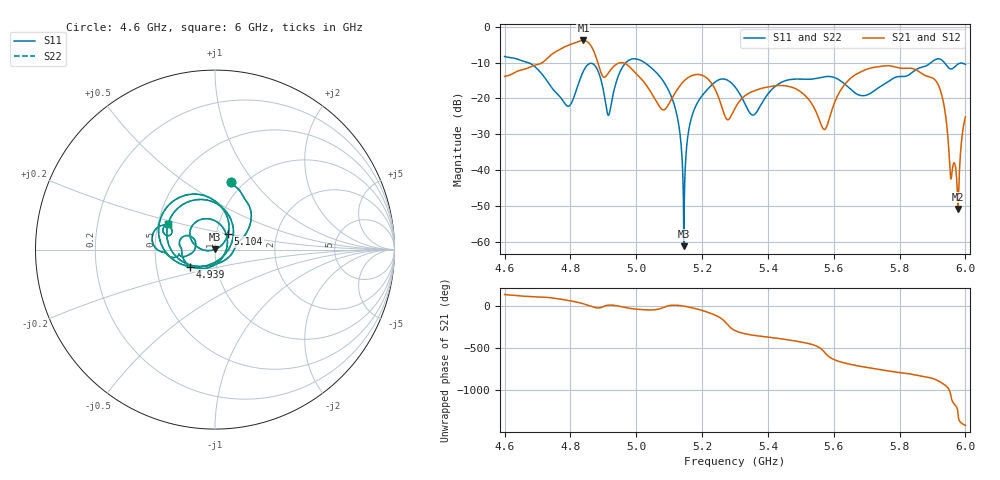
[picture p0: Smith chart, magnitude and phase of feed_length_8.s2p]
! TOUCHSTONE file generated by CST MICROWAVE STUDIO
! Date and time: Mon Dec  2 05:46:50 2024
! Project name: test_tuning.cst
! Parameters = {airCoaxOuterDiameter=3; chamferAngle=45; chamferWidth=24; connectorLength=10; drillingHoleDiameter=4.1; feedLength=100; flareDiameter=130; flareLength=70; gratingDistance=0; gratingGap=1.90274; outletLength=30; polarizerLength=134; probe1Diameter=1.3; probe1Distance=14; probe1Length=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
! Header version: 2024
! Port assignment regex: !\s*Touchstone port\s*([0-9]+)\s*=\s*(CST MWS port|CST DES external port|CST DES block port)\s*(.+)\s* \(\"(.*)\"\)(\s*mode\s*([0-9]+))?.*
! Touchstone port assignment:
! Touchstone port 1 = CST MWS port 1 ("Input1")
! Touchstone port 2 = CST MWS port 2 ("Input2")
# GHz S MA R 50
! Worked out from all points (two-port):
!   1001 points, 4.6 GHz to 6 GHz, reference 50 ohm
!   highest |S21| = -3.82 dB at 4.839 GHz (marker M1); lowest = -50.8 dB at 5.978 GHz (marker M2)
!   |S21| within 3 dB of the highest: 4.758 GHz to 4.871 GHz (112.8 MHz wide, 2.34 % of centre)
!   lowest |S11| = -61.2 dB at 5.145 GHz (marker M3), VSWR 1.00, Z = 50 + j0.0854 ohm
!   |S11| at or under -10 dB: 4.672 GHz to 4.969 GHz (297 MHz wide, 6.16 % of centre); 5.025 GHz to 5.896 GHz (870.1 MHz wide, 15.9 % of centre); 5.936 GHz to end of sweep
!   |S22| runs from -61.2 to -8.3 dB; largest |S21 - S12| = 1.1e-06
!   S11 on the Smith chart (normalised r, x): 4.6 GHz: 0.88, +0.77; 4.939 GHz: 0.75, -0.15; 5.104 GHz: 1.14, +0.20; 6 GHz: 0.56, +0.18
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4.6  0.3854 76.8  0.2033 139.3  0.2033 139.3  0.3854 76.8
4.7918  0.07792 -62.5  0.5486 70.1  0.5486 70.1  0.07792 -62.5
4.8338  0.2108 -166.3  0.6412 35.9  0.6412 35.9  0.2108 -166.3
4.8394  0.2405 -177.9  0.6445 29.3  0.6445 29.3  0.2405 -177.9
4.8772  0.2761 97.3  0.3845 -17.3  0.3845 -17.3  0.2761 97.3
4.915  0.05798 -45.7  0.2258 13.5  0.2258 13.5  0.05798 -45.7
4.9388  0.1673 -145.4  0.2981 7.8  0.2981 7.8  0.1673 -145.4
4.9878  0.3556 143.1  0.253 -29.0  0.253 -29.0  0.3556 143.1
5.0676  0.2129 74.2  0.08088 -33.8  0.08088 -33.8  0.2129 74.2
5.104  0.1134 50.2  0.09219 10.4  0.09219 10.4  0.1134 50.2
5.1446  0.0008694 100.5  0.1742 1.9  0.1742 1.9  0.0008698 100.6
5.1614  0.04052 -171.8  0.2006 -11.0  0.2006 -11.0  0.04052 -171.8
5.1866  0.08839 174.9  0.2162 -34.8  0.2162 -34.8  0.08839 174.9
5.3  0.1451 79.7  0.07311 71.4  0.07311 71.4  0.1451 79.7
5.3546  0.05857 -28.3  0.1257 16.5  0.1257 16.5  0.05857 -28.3
5.5338  0.1864 178.7  0.0837 -93.4  0.0837 -93.4  0.1864 178.7
5.573  0.2011 170.7  0.03696 170.0  0.03696 170.0  0.2011 170.7
5.6458  0.1416 151.5  0.1813 34.7  0.1813 34.7  0.1416 151.5
5.7676  0.174 -167.1  0.286 -48.6  0.286 -48.6  0.174 -167.1
5.9132  0.355 170.7  0.1687 -157.6  0.1687 -157.6  0.355 170.7
5.9776  0.302 161.7  0.002875 165.7  0.002875 165.7  0.302 161.7
6  0.2987 151.3  0.05532 24.9  0.05532 24.9  0.2987 151.3
